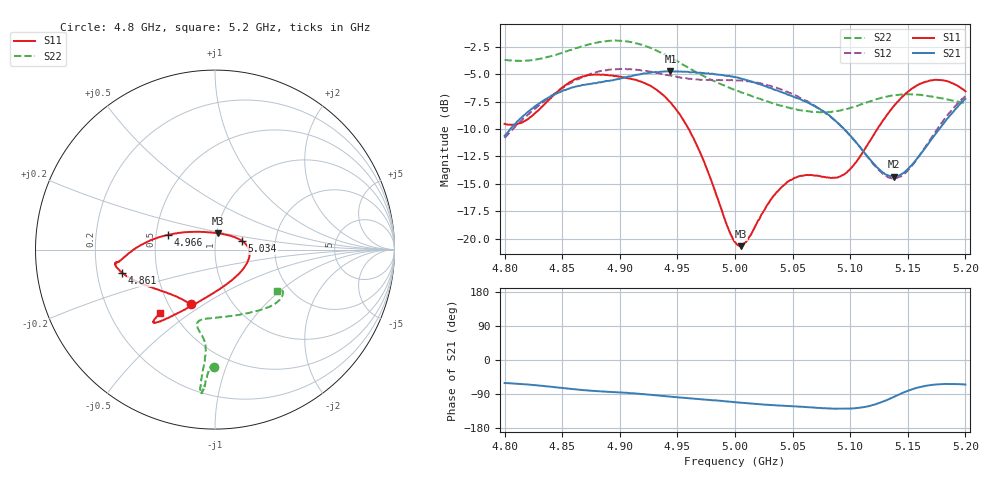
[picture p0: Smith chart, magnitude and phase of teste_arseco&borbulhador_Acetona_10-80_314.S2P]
! Network Analyzer HP8722D
! Hewlett-Packard
! Data name: Linha & Wilkinson
! Saver's name: Rodrigo Anjos
! Comments: Teste da utilização de aquisição
! continua pelo VNA HP8722D
! Time and date: 17/4/2025 16:58
!  Frequency  S11  S21  S12  S22
# HZ  S  MA R 50
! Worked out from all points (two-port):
!   401 points, 4.8 GHz to 5.2 GHz, reference 50 ohm
!   highest |S21| = -4.70 dB at 4.944 GHz (marker M1); lowest = -14.4 dB at 5.138 GHz (marker M2)
!   |S21| within 3 dB of the highest: 4.829 GHz to 5.066 GHz (236.3 MHz wide, 4.78 % of centre); 5.195333 GHz to end of sweep
!   lowest |S11| = -20.7 dB at 5.005 GHz (marker M3), VSWR 1.20, Z = 50.7 + j9.3 ohm
!   |S11| at or under -10 dB: 4.96 GHz to 5.124 GHz (163.7 MHz wide, 3.25 % of centre)
!   |S22| runs from -8.5 to -1.9 dB; largest |S21 - S12| = 0.87
!   S11 on the Smith chart (normalised r, x): 4.8 GHz: 0.64, -0.44; 4.861 GHz: 0.31, -0.11; 4.966 GHz: 0.58, +0.10; 5.034 GHz: 1.34, +0.14; 5.2 GHz: 0.42, -0.39
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4.8e9  0.3343 -114.0  0.2945 -60.9  0.288 -175.1  0.6554 -90.3
4.819e9  0.3486 -134.0  0.3745 -64.5  0.3627 -174.0  0.651 -91.8
4.861e9  0.5341 -166.0  0.4937 -77.5  0.5274 -177.2  0.7377 -94.1
4.867e9  0.5484 -168.3  0.5026 -79.0  0.5446 -178.3  0.7556 -94.3
4.902e9  0.5465 -172.7  0.5416 -85.9  0.5963 174.5  0.8008 -95.7
4.934e9  0.4694 -178.5  0.5771 -93.8  0.5705 171.6  0.713 -95.9
4.944e9  0.4189 177.0  0.5818 -96.7  0.5558 171.7  0.673 -95.7
4.966e9  0.2736 162.5  0.5736 -102.2  0.5338 173.5  0.5777 -95.2
5e9  0.09622 98.8  0.5475 -111.4  0.5307 175.9  0.4772 -99.3
5.005e9  0.09225 80.6  0.539 -112.7  0.5279 175.9  0.466 -100.4
5.012e9  0.101 57.3  0.526 -114.5  0.5234 175.8  0.4532 -101.9
5.034e9  0.1577 18.2  0.4791 -119.4  0.4924 174.5  0.4139 -103.4
5.05e9  0.1869 2.0  0.4474 -122.3  0.4567 173.8  0.3933 -99.1
5.067e9  0.1949 -16.3  0.4091 -125.2  0.4124 173.4  0.3792 -90.2
5.087e9  0.1897 -48.5  0.3454 -128.5  0.3462 173.5  0.3817 -75.1
5.097e9  0.2001 -68.8  0.3072 -128.5  0.308 174.6  0.3913 -66.8
5.123e9  0.3133 -108.7  0.2119 -115.8  0.211 -170.4  0.4338 -48.5
5.134e9  0.3795 -117.5  0.1933 -102.7  0.1896 -155.6  0.4484 -43.0
5.138e9  0.4041 -119.7  0.1916 -97.1  0.1881 -149.3  0.4513 -41.3
5.151e9  0.4727 -125.3  0.2099 -80.3  0.2079 -129.7  0.4566 -36.6
5.17e9  0.5281 -129.5  0.2807 -66.0  0.286 -112.2  0.4466 -32.2
5.2e9  0.4709 -131.0  0.4352 -64.8  0.4479 -106.8  0.4151 -33.6
